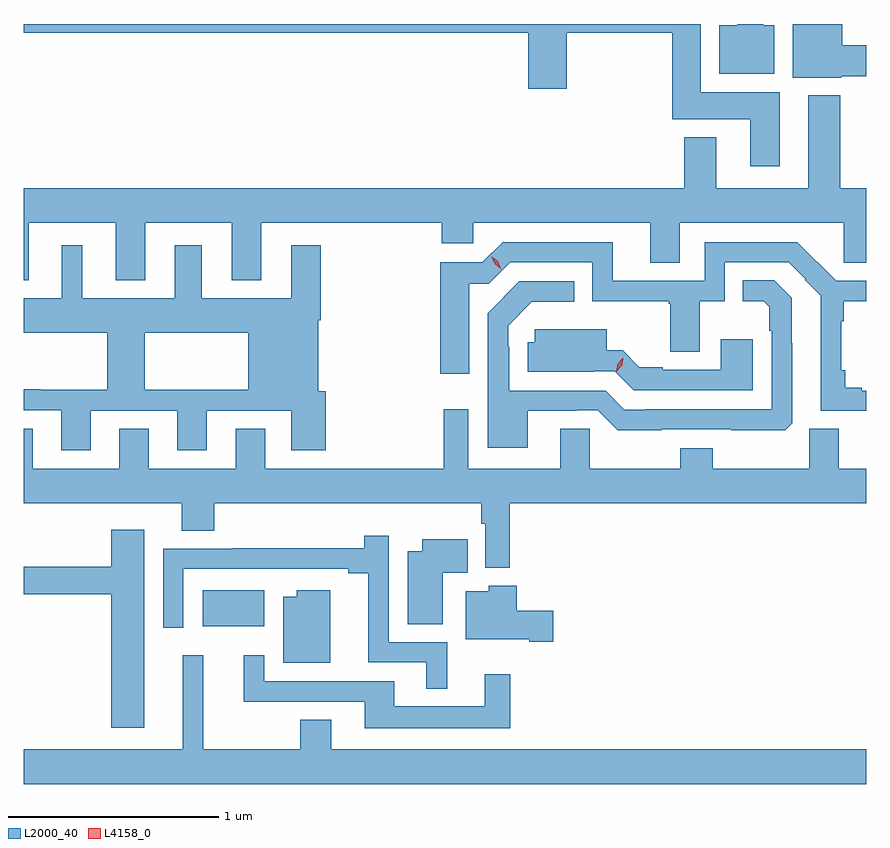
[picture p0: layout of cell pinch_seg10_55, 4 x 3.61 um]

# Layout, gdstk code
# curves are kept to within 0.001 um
import gdstk
lib = gdstk.Library(unit=1e-6, precision=1e-09)
def R(c, l, rs):  # rectangles x0, y0, x1, y1
    for r in rs: c.add(gdstk.rectangle(r[:2], r[2:], *l))
def P(c, l, *ps):  # polygons
    for p in ps: c.add(gdstk.Polygon(p, *l))
L2000_40 = (2000, 40)
L4158_0 = (4158, 0)

pinch_seg10_55 = lib.new_cell('pinch_seg10_55')
R(pinch_seg10_55, L2000_40, [(839.555,1303.73,839.848,1303.9)])
P(pinch_seg10_55, L2000_40, [(842.293,1306.264),(841.918,1306.264),(841.918,1306.588),(838.705,1306.588),(838.705,1306.546),(841.1,1306.546),(841.1,1306.281),(841.283,1306.281),(841.283,1306.546),(841.784,1306.546),(841.784,1306.136),(842.153,1306.136),(842.153,1305.912),(842.293,1305.912)],
  [(842.269,1306.582),(842.215,1306.582),(842.215,1306.588),(842.093,1306.588),(842.093,1306.582),(842.006,1306.582),(842.006,1306.352),(842.269,1306.352)],
  [(842.586,1306.34),(842.705,1306.34),(842.705,1306.487),(842.59,1306.487),(842.59,1306.588),(842.357,1306.588),(842.357,1306.334),(842.586,1306.334)],
  [(838.729,1305.644),(839.141,1305.644),(839.141,1305.371),(839.281,1305.371),(839.281,1305.644),(839.693,1305.644),(839.693,1305.371),(839.833,1305.371),(839.833,1305.644),(840.689,1305.644),(840.689,1305.546),(840.84,1305.546),(840.84,1305.644),(841.679,1305.644),(841.679,1305.454),(841.819,1305.454),(841.819,1305.644),(842.599,1305.644),(842.599,1305.454),(842.705,1305.454),(842.705,1305.808),(842.582,1305.808),(842.582,1306.249),(842.429,1306.249),(842.429,1305.808),(841.993,1305.808),(841.993,1306.051),(841.841,1306.051),(841.841,1305.808),(838.705,1305.808),(838.705,1305.371),(838.729,1305.371)],
  [(842.705,1304.847),(842.683,1304.847),(842.683,1304.86),(842.606,1304.86),(842.606,1304.944),(842.586,1304.944),(842.586,1305.176),(842.599,1305.176),(842.599,1305.272),(842.705,1305.272),(842.705,1305.369),(842.562,1305.369),(842.377,1305.552),(841.938,1305.552),(841.938,1305.369),(841.501,1305.369),(841.501,1305.552),(840.978,1305.552),(840.882,1305.456),(840.683,1305.456),(840.683,1304.928),(840.82,1304.928),(840.82,1305.354),(840.912,1305.354),(841.014,1305.456),(841.404,1305.456),(841.404,1305.272),(841.768,1305.271),(841.768,1305.261),(841.775,1305.261),(841.775,1305.031),(841.915,1305.031),(841.915,1305.272),(842.034,1305.272),(842.034,1305.456),(842.337,1305.456),(842.415,1305.378),(842.413,1305.375),(842.489,1305.298),(842.489,1304.751),(842.705,1304.751)],
  [(838.787,1304.855),(838.705,1304.855),(838.705,1304.754),(838.883,1304.754),(838.883,1304.565),(839.023,1304.565),(839.023,1304.751),(839.435,1304.751),(839.435,1304.565),(839.575,1304.565),(839.575,1304.751),(839.975,1304.751),(839.975,1304.565),(840.14,1304.565),(840.14,1304.844),(840.103,1304.844),(840.103,1305.182),(840.116,1305.182),(840.116,1305.538),(839.975,1305.538),(839.975,1305.286),(839.551,1305.286),(839.551,1305.538),(839.423,1305.538),(839.423,1305.286),(838.984,1305.286),(838.984,1305.538),(838.886,1305.538),(838.886,1305.286),(838.705,1305.286),(838.705,1305.122),(839.102,1305.122),(839.102,1304.852),(839.28,1304.852),(839.28,1305.122),(839.771,1305.122),(839.771,1304.852),(839.28,1304.852),(839.102,1304.852),(838.787,1304.852)],
  [(841.099,1304.751),(841.331,1304.751),(841.331,1304.754),(841.431,1304.754),(841.525,1304.66),(841.733,1304.66),(841.733,1304.664),(842.065,1304.664),(842.065,1304.66),(842.321,1304.66),(842.354,1304.693),(842.354,1305.073),(842.352,1305.073),(842.352,1305.288),(842.269,1305.371),(842.119,1305.371),(842.119,1305.272),(842.219,1305.272),(842.244,1305.246),(842.244,1305.131),(842.256,1305.131),(842.256,1304.76),(841.657,1304.76),(841.657,1304.757),(841.557,1304.757),(841.467,1304.847),(841.009,1304.847),(841.009,1305.056),(841.005,1305.056),(841.005,1305.156),(841.118,1305.269),(841.318,1305.269),(841.318,1305.366),(841.058,1305.366),(840.908,1305.216),(840.908,1304.576),(841.099,1304.576)],
  [(842.167,1305.091),(842.015,1305.091),(842.015,1304.946),(841.738,1304.946),(841.738,1304.958),(841.628,1304.958),(841.548,1305.038),(841.474,1305.038),(841.474,1305.139),(841.131,1305.139),(841.131,1305.076),(841.097,1305.076),(841.097,1304.936),(841.412,1304.936),(841.412,1304.94),(841.512,1304.94),(841.602,1304.85),(842.167,1304.85)],
  [(842.435,1304.666),(842.435,1304.476),(841.977,1304.476),(841.977,1304.575),(841.822,1304.575),(841.822,1304.476),(841.392,1304.476),(841.392,1304.666),(841.253,1304.666),(841.253,1304.476),(840.816,1304.476),(840.816,1304.758),(840.7,1304.758),(840.7,1304.476),(839.851,1304.476),(839.851,1304.666),(839.711,1304.666),(839.711,1304.476),(839.299,1304.476),(839.299,1304.666),(839.159,1304.666),(839.159,1304.476),(838.747,1304.476),(838.747,1304.666),(838.705,1304.666),(838.705,1304.312),(839.456,1304.312),(839.456,1304.182),(839.609,1304.182),(839.609,1304.312),(840.877,1304.312),(840.877,1304.216),(840.897,1304.216),(840.897,1304.006),(841.013,1304.006),(841.013,1304.312),(842.705,1304.312),(842.705,1304.476),(842.575,1304.476),(842.575,1304.666)],
  [(839.278,1304.188),(839.12,1304.188),(839.12,1304.011),(838.705,1304.011),(838.705,1303.882),(839.12,1303.882),(839.12,1303.248),(839.278,1303.248)],
  [(840.715,1303.653),(840.438,1303.653),(840.438,1304.158),(840.322,1304.158),(840.322,1304.099),(839.692,1304.099),(839.692,1304.097),(839.367,1304.097),(839.367,1303.722),(839.463,1303.722),(839.463,1304.001),(840.245,1304.001),(840.245,1303.981),(840.341,1303.981),(840.341,1303.557),(840.617,1303.557),(840.617,1303.433),(840.715,1303.433)],
  [(840.694,1303.982),(840.812,1303.982),(840.812,1304.143),(840.596,1304.143),(840.596,1304.086),(840.527,1304.086),(840.527,1303.738),(840.694,1303.738)],
  [(841.219,1303.802),(841.046,1303.802),(841.046,1303.921),(840.912,1303.921),(840.912,1303.894),(840.803,1303.894),(840.803,1303.667),(841.106,1303.667),(841.106,1303.655),(841.219,1303.655)],
  [(840.16,1303.9),(840.002,1303.9),(840.002,1303.87),(839.936,1303.87),(839.936,1303.556),(840.16,1303.556)],
  [(841.015,1303.501),(840.893,1303.501),(840.893,1303.348),(840.463,1303.348),(840.463,1303.467),(839.847,1303.467),(839.847,1303.591),(839.75,1303.591),(839.75,1303.371),(840.323,1303.371),(840.323,1303.244),(841.015,1303.244)],
  [(842.705,1303.144),(840.166,1303.144),(840.166,1303.286),(840.019,1303.286),(840.019,1303.144),(839.558,1303.144),(839.558,1303.591),(839.459,1303.591),(839.459,1303.144),(838.705,1303.144),(838.705,1302.98),(842.705,1302.98)])
P(pinch_seg10_55, L4158_0, [(841.518,1304.937),(841.526,1304.974),(841.55,1305.001),(841.551,1305.001),(841.551,1305.001),(841.544,1304.965),(841.519,1304.937),(841.519,1304.937)],
  [(840.97,1305.427),(840.94,1305.449),(840.926,1305.483),(840.926,1305.483),(840.927,1305.483),(840.956,1305.461),(840.97,1305.427),(840.97,1305.427)])

lib.write_gds('pinch_seg10_55.gds')
